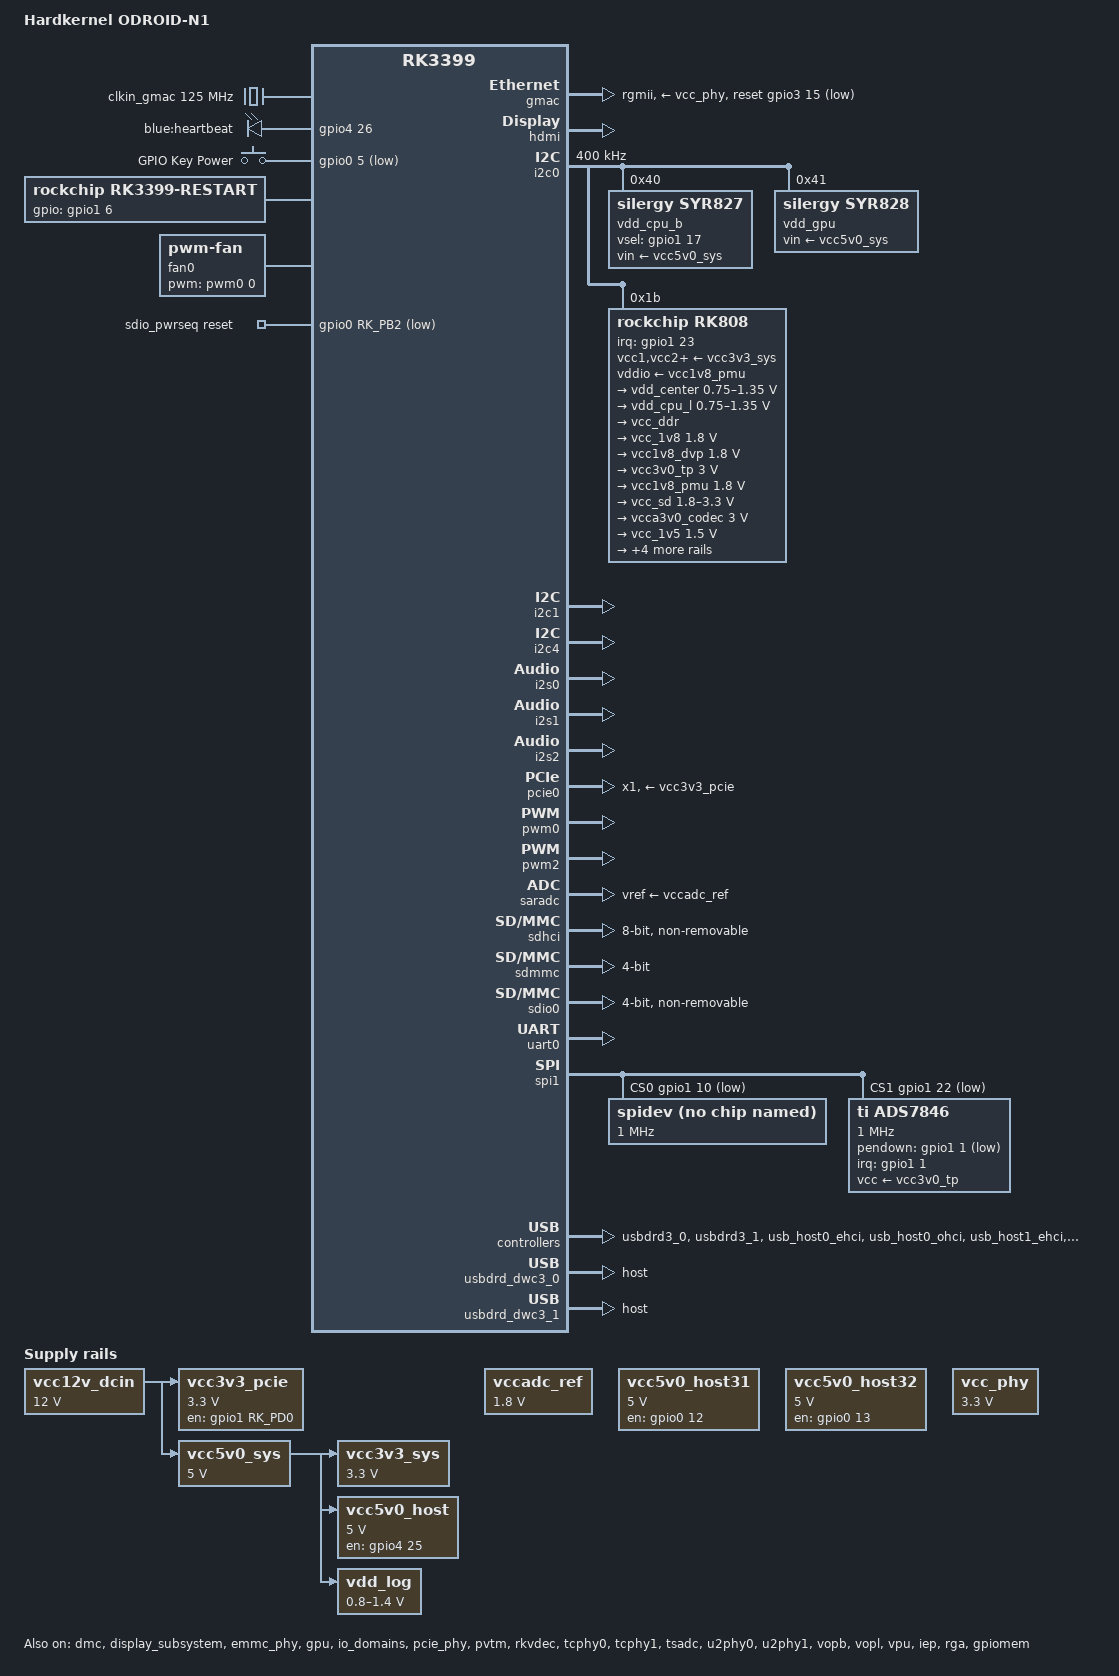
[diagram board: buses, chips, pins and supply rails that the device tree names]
/*
 * Copyright (c) 2017 Hardkernel Co., Ltd
 *
 * This file is dual-licensed: you can use it either under the terms
 * of the GPL or the X11 license, at your option. Note that this dual
 * licensing only applies to this file, and not this project as a
 * whole.
 *
 *  a) This file is free software; you can redistribute it and/or
 *     modify it under the terms of the GNU General Public License as
 *     published by the Free Software Foundation; either version 2 of the
 *     License, or (at your option) any later version.
 *
 *     This file is distributed in the hope that it will be useful,
 *     but WITHOUT ANY WARRANTY; without even the implied warranty of
 *     MERCHANTABILITY or FITNESS FOR A PARTICULAR PURPOSE.  See the
 *     GNU General Public License for more details.
 *
 * Or, alternatively,
 *
 *  b) Permission is hereby granted, free of charge, to any person
 *     obtaining a copy of this software and associated documentation
 *     files (the "Software"), to deal in the Software without
 *     restriction, including without limitation the rights to use,
 *     copy, modify, merge, publish, distribute, sublicense, and/or
 *     sell copies of the Software, and to permit persons to whom the
 *     Software is furnished to do so, subject to the following
 *     conditions:
 *
 *     The above copyright notice and this permission notice shall be
 *     included in all copies or substantial portions of the Software.
 *
 *     THE SOFTWARE IS PROVIDED "AS IS", WITHOUT WARRANTY OF ANY KIND,
 *     EXPRESS OR IMPLIED, INCLUDING BUT NOT LIMITED TO THE WARRANTIES
 *     OF MERCHANTABILITY, FITNESS FOR A PARTICULAR PURPOSE AND
 *     NONINFRINGEMENT. IN NO EVENT SHALL THE AUTHORS OR COPYRIGHT
 *     HOLDERS BE LIABLE FOR ANY CLAIM, DAMAGES OR OTHER LIABILITY,
 *     WHETHER IN AN ACTION OF CONTRACT, TORT OR OTHERWISE, ARISING
 *     FROM, OUT OF OR IN CONNECTION WITH THE SOFTWARE OR THE USE OR
 *     OTHER DEALINGS IN THE SOFTWARE.
 */

/dts-v1/;

#include "dt-bindings/pwm/pwm.h"
#include "rk3399.dtsi"
#include "rk3399-opp.dtsi"
#include "rk3399-linux.dtsi"
#include <dt-bindings/input/input.h>

/ {
	model = "Hardkernel ODROID-N1";
	compatible = "hardkernel,odroidn1-linux", "rockchip,rk3399";

	chosen {
		// disable USB autosuspend as this solves USB stability issues
		bootargs = "earlycon=uart8250,mmio32,0xff1a0000 swiotlb=1 no_console_suspend=1 usbcore.autosuspend=-1";
		stdout-path = "serial2:1500000n8";
	};

	cpuinfo {
		compatible = "rockchip,cpuinfo";
		nvmem-cells = <&cpu_id>;
		nvmem-cell-names = "id";
	};

	reserved-memory {
		#address-cells = <2>;
		#size-cells = <2>;
		ranges;

		drm_logo: drm-logo@00000000 {
			compatible = "rockchip,drm-logo";
			reg = <0x0 0x0 0x0 0x0>;
		};
	};

	ion {
		compatible = "rockchip,ion";
		#address-cells = <1>;
		#size-cells = <0>;

		cma-heap {
			reg = <0x00000000 0x02000000>;
		};

		system-heap {
		};
	};

	aliases {
		ethernet0 = &gmac;
	};

	clkin_gmac: external-gmac-clock {
		compatible = "fixed-clock";
		clock-frequency = <125000000>;
		clock-output-names = "clkin_gmac";
		#clock-cells = <0>;
	};

	fiq_debugger: fiq-debugger {
		compatible = "rockchip,fiq-debugger";
		rockchip,serial-id = <2>;
		rockchip,signal-irq = <182>;
		rockchip,wake-irq = <0>;
		rockchip,irq-mode-enable = <1>;  /* If enable uart uses irq instead of fiq */
		rockchip,baudrate = <115200>;  /* Only 115200 and 1500000 */
		pinctrl-names = "default";
		pinctrl-0 = <&uart2c_xfer>;
	};
	
	leds: gpio_leds {
		compatible = "gpio-leds";
		pinctrl-names = "led_pins";
		pinctrl-0 = <&led_pins>;

                heartbeat {
                        label = "blue:heartbeat";
                        gpios = <&gpio4 26 GPIO_ACTIVE_HIGH>;
                        linux,default-trigger = "heartbeat";
                };
	};	

	gpio-keys {
		compatible = "gpio-keys";
		#address-cells = <1>;
		#size-cells = <0>;
		autorepeat;

		pinctrl-names = "default";
		pinctrl-0 = <&pwrbtn>;

		button@0 {
			gpios = <&gpio0 5 GPIO_ACTIVE_LOW>;
			linux,code = <KEY_POWER>;
			label = "GPIO Key Power";
			linux,input-type = <1>;
			gpio-key,wakeup = <1>;
			debounce-interval = <100>;
		};
	};

	rk3399-restart {
		compatible = "rockchip,rk3399-restart";
		gpios = <&gpio1 6 GPIO_ACTIVE_HIGH>;
		open-source;
	};

	gpiomem {
		compatible = "rockchip,rock-gpiomem";

		/* gpio mmap area define */
			/* GPIO0 64K    : 0xff720000 - 0xff72ffff */
			/* GPIO1 64K    : 0xff730000 - 0xff73ffff */
			/* Reserved 64K : 0xff740000 - 0xff74ffff */
			/* PMUCRU 64K   : 0xff750000 - 0xff75ffff */
			/* CRU 64K      : 0xff760000 - 0xff76ffff */
			/* GRF 64K      : 0xff770000 - 0xff77ffff */
			/* GPIO2 32K    : 0xff780000 - 0xff777fff */
			/* GPIO3 32K    : 0xff788000 - 0xff78ffff */
			/* GPIO4 32K    : 0xff790000 - 0xff797fff */
		reg = 	<0 0xff720000 0 0x78000>,

			/* PMUGRF 64K   : 0xff320000 - 0xff32ffff */
			<0 0xff320000 0 0x10000>;
		status = "okay";
	};

	fan0: pwm-fan {
		compatible = "pwm-fan";
		status = "okay";
		pwms = <&pwm0 0 40000 0>; /* 25 kHz */
		cooling-min-state = <0>;
		cooling-max-state = <3>;
		#cooling-cells = <2>;
		cooling-levels = <0 150 195 240>;
	};

	dw_hdmi_audio: dw-hdmi-audio {
		status = "disabled";
		compatible = "rockchip,dw-hdmi-audio";
		#sound-dai-cells = <0>;
	};

	hdmi_sound: hdmi-sound {
		status = "disabled";
		compatible = "simple-audio-card";
		simple-audio-card,format = "i2s";
		simple-audio-card,mclk-fs = <256>;
		simple-audio-card,name = "rockchip,hdmi";

		simple-audio-card,cpu {
			sound-dai = <&i2s2>;
		};
		simple-audio-card,codec {
			sound-dai = <&dw_hdmi_audio>;
		};
	};

	hdmi_codec: hdmi-codec {
		compatible = "simple-audio-card";
		simple-audio-card,format = "i2s";
		simple-audio-card,mclk-fs = <256>;
		simple-audio-card,name = "HDMI-CODEC";

		simple-audio-card,cpu {
			sound-dai = <&i2s2>;
		};

		simple-audio-card,codec {
			sound-dai = <&hdmi>;
		};
	};

	vcc12v_dcin: vcc12v-dcin {
		compatible = "regulator-fixed";
		regulator-name = "vcc12v_dcin";
		regulator-always-on;
		regulator-boot-on;
		regulator-min-microvolt = <12000000>;
		regulator-max-microvolt = <12000000>;
	};

	vcc3v3_pcie: vcc3v3-pcie-regulator {
		compatible = "regulator-fixed";
		regulator-min-microvolt = <3300000>;
		regulator-max-microvolt = <3300000>;
		enable-active-high;
		gpio = <&gpio1 RK_PD0 GPIO_ACTIVE_HIGH>;
		pinctrl-names = "default";
		pinctrl-0 = <&pcie_pwr_en>;
		regulator-name = "vcc3v3_pcie";
		vin-supply = <&vcc12v_dcin>;
	};

	vcc5v0_sys: vcc5v0-sys {
		compatible = "regulator-fixed";
		regulator-name = "vcc5v0_sys";
		regulator-always-on;
		regulator-boot-on;
		regulator-min-microvolt = <5000000>;
		regulator-max-microvolt = <5000000>;
		vin-supply = <&vcc12v_dcin>;
	};

	vccadc_ref: vccadc-ref {
		compatible = "regulator-fixed";
		regulator-name = "vcc1v8_sys";
		regulator-always-on;
		regulator-boot-on;
		regulator-min-microvolt = <1800000>;
		regulator-max-microvolt = <1800000>;
	};	

	vcc3v3_sys: vcc3v3-sys {
		compatible = "regulator-fixed";
		regulator-name = "vcc3v3_sys";
		regulator-always-on;
		regulator-boot-on;
		regulator-min-microvolt = <3300000>;
		regulator-max-microvolt = <3300000>;
		vin-supply = <&vcc5v0_sys>;
	};

	vcc5v0_host: vcc5v0-host-regulator {
		compatible = "regulator-fixed";
		enable-active-high;
		gpio = <&gpio4 25 GPIO_ACTIVE_HIGH>;
		pinctrl-names = "default";
		pinctrl-0 = <&host_vbus_drv>;
		regulator-name = "vcc5v0_host";
		regulator-min-microvolt = <5000000>;
		regulator-max-microvolt = <5000000>;
		regulator-always-on;
		vin-supply = <&vcc5v0_sys>;
	};

	vcc5v0_host31: vcc5v0-host31-regulator {
		compatible = "regulator-fixed";
		enable-active-high;
		gpio = <&gpio0 12 GPIO_ACTIVE_HIGH>;
		pinctrl-names = "default";
		pinctrl-0 = <&host31_vbus_drv>;
		regulator-name = "vcc5v0_host31";
		regulator-min-microvolt = <5000000>;
		regulator-max-microvolt = <5000000>;
	};

	vcc5v0_host32: vcc5v0-host32-regulator {
		compatible = "regulator-fixed";
		enable-active-high;
		gpio = <&gpio0 13 GPIO_ACTIVE_HIGH>;
		pinctrl-names = "default";
		pinctrl-0 = <&host32_vbus_drv>;
		regulator-name = "vcc5v0_host32";
		regulator-min-microvolt = <5000000>;
		regulator-max-microvolt = <5000000>;
	};

	vcc_phy: vcc-phy-regulator {
		compatible = "regulator-fixed";
		regulator-name = "vcc_phy";
		regulator-min-microvolt = <3300000>;
		regulator-max-microvolt = <3300000>;
		regulator-always-on;
		regulator-boot-on;
	};

	vdd_log: vdd-log {
		compatible = "pwm-regulator";
		pwms = <&pwm2 0 25000 1>;
		regulator-name = "vdd_log";
		regulator-min-microvolt = <800000>;
		regulator-max-microvolt = <1400000>;
		regulator-always-on;
		regulator-boot-on;

		/* for rockchip boot on */
		rockchip,pwm_id= <2>;
		rockchip,pwm_voltage = <900000>;

		pwm-supply = <&vcc5v0_sys>;
	};

	sdio_pwrseq: sdio-pwrseq {
		compatible = "mmc-pwrseq-simple";
		clocks = <&rk808 1>;
		clock-names = "ext_clock";
		pinctrl-names = "default";
		pinctrl-0 = <&wifi_enable_h>;

		/*
		 * On the module itself this is one of these (depending
		 * on the actual card populated):
		 * - SDIO_RESET_L_WL_REG_ON
		 * - PDN (power down when low)
		 */
		reset-gpios = <&gpio0 RK_PB2 GPIO_ACTIVE_LOW>;
	};

	odroid_sysfs: odroid-sysfs {
		status = "okay";
		compatible = "odroid-sysfs";
	};
};

&cluster0_opp {
	opp-408000000 {
		opp-microvolt = <800000>;
	};
	opp-600000000 {
		opp-microvolt = <800000>;
	};
	opp-816000000 {
		opp-microvolt = <850000>;
	};
	opp-1008000000 {
		opp-microvolt = <925000>;
	};
	opp-1200000000 {
		opp-microvolt = <1000000>;
	};
	opp-1416000000 {
		opp-microvolt = <1125000>;
	};
	opp-1512000000 {
		opp-hz = /bits/ 64 <1512000000>;
		opp-microvolt = <1200000>;
		opp-microvolt-L0 = <1200000>;
		opp-microvolt-L1 = <1175000>;
		opp-microvolt-L2 = <1150000>;
		opp-microvolt-L3 = <1125000>;
		clock-latency-ns = <40000>;
	};
};

&cluster1_opp {
	opp-408000000 {
		opp-microvolt = <800000>;
	};
	opp-600000000 {
		opp-microvolt = <800000>;
	};
	opp-816000000 {
		opp-microvolt = <825000>;
	};
	opp-1008000000 {
		opp-microvolt = <875000>;
	};
	opp-1200000000 {
		opp-microvolt = <950000>;
	};
	opp-1416000000 {
		opp-microvolt = <1025000>;
	};
	opp-1608000000 {
		opp-microvolt = <1100000>;
	};
	opp-1800000000 {
		opp-microvolt = <1200000>;
	};
	opp-1992000000 {
		opp-hz = /bits/ 64 <1992000000>;
		opp-microvolt = <1300000>;
		opp-microvolt-L0 = <1300000>;
		opp-microvolt-L1 = <1275000>;
		opp-microvolt-L2 = <1250000>;
		opp-microvolt-L3 = <1225000>;
		clock-latency-ns = <40000>;
	};
};

&cpu_l0 {
	cpu-supply = <&vdd_cpu_l>;
};

&cpu_l1 {
	cpu-supply = <&vdd_cpu_l>;
};

&cpu_l2 {
	cpu-supply = <&vdd_cpu_l>;
};

&cpu_l3 {
	cpu-supply = <&vdd_cpu_l>;
};

&cpu_b0 {
	cpu-supply = <&vdd_cpu_b>;
};

&cpu_b1 {
	cpu-supply = <&vdd_cpu_b>;
};

&dmc {
	status = "okay";
	center-supply = <&vdd_center>;
	upthreshold = <40>;
	downdifferential = <20>;
	system-status-freq = <
		/*system status         freq(KHz)*/
		SYS_STATUS_NORMAL       933000
		SYS_STATUS_REBOOT       400000
		SYS_STATUS_SUSPEND      400000
		SYS_STATUS_VIDEO_1080P  933000
		SYS_STATUS_VIDEO_4K     933000
		SYS_STATUS_VIDEO_4K_10B 933000
		SYS_STATUS_PERFORMANCE  933000
		SYS_STATUS_BOOST        400000
		SYS_STATUS_DUALVIEW     933000
		SYS_STATUS_ISP          933000
	>;
	vop-bw-dmc-freq = <
	/* min_bw(MB/s) max_bw(MB/s) freq(KHz) */
		0       577      200000
		578     1701     300000
		1702    99999    400000
	>;
	auto-min-freq = <800000>;
};

&dmc_opp_table {
	opp-933000000 {
		opp-hz = /bits/ 64 <933000000>;
		opp-microvolt = <900000>;
	};
};

&display_subsystem {
	/delete-property/ devfreq;
	status = "okay";

	ports = <&vopb_out>, <&vopl_out>;
	logo-memory-region = <&drm_logo>;

	route {
		route_hdmi: route-hdmi {
			logo,uboot = "logo.bmp";
			logo,kernel = "logo_kernel.bmp";
			logo,mode = "center";
			charge_logo,mode = "center";
			connect = <&vopb_out_hdmi>;
		};

		route_dp: route-dp {
			logo,uboot = "logo.bmp";
			logo,kernel = "logo_kernel.bmp";
			logo,mode = "center";
			charge_logo,mode = "center";
			connect = <&vopl_out_dp>;
		};
	};
};

&emmc_phy {
	status = "okay";
};

&gmac {
	phy-supply = <&vcc_phy>;
	phy-mode = "rgmii";
	clock_in_out = "input";
	snps,reset-gpio = <&gpio3 15 GPIO_ACTIVE_LOW>;
	snps,reset-active-low;
	snps,reset-delays-us = <0 10000 50000>;
	assigned-clocks = <&cru SCLK_RMII_SRC>;
	assigned-clock-parents = <&clkin_gmac>;
	pinctrl-names = "default";
	pinctrl-0 = <&rgmii_pins>;
	tx_delay = <0x100>;
	rx_delay = <0x11>;
	hardkernel,mac-rule = <1>;
	status = "okay";
};

&gpu {
	status = "okay";
	mali-supply = <&vdd_gpu>;
};

/* HACK: keep MALI version on linux */
&gpu_power_model {
	// for DDK r14.
	voltage = <900>;
	frequency = <500>;
	static-power = <300>;
	dynamic-power = <396>;
};

&hdmi {
	#address-cells = <1>;
	#size-cells = <0>;
	#sound-dai-cells = <0>;
	status = "okay";
	rockchip,phy-table =
		<74250000 0x8009 0x0004 0x0272>,
		<165000000 0x802b 0x0004 0x0209>,
		<297000000 0x8039 0x0005 0x028d>,
		<594000000 0x8039 0x0000 0x019d>,
		<000000000 0x0000 0x0000 0x0000>;

	pinctrl-names = "default";
	pinctrl-0 = <&hdmi_i2c_xfer>, <&hdmi_cec>;

	ports {
		/* Don't use vopl for hdmi */
		hdmi_in: port {
			/delete-node/ endpoint@1;
		};
	};
};

&dp_in_vopl {
       status = "disabled";
};

&i2c0 {
	status = "okay";
	i2c-scl-rising-time-ns = <168>;
	i2c-scl-falling-time-ns = <4>;
	clock-frequency = <400000>;

	vdd_cpu_b: syr827@40 {
		compatible = "silergy,syr827";
		reg = <0x40>;
		vin-supply = <&vcc5v0_sys>;
		regulator-compatible = "fan53555-reg";
		regulator-name = "vdd_cpu_b";
		regulator-min-microvolt = <712500>;
		regulator-max-microvolt = <1500000>;
		regulator-ramp-delay = <40000>;
		vsel-gpios = <&gpio1 17 GPIO_ACTIVE_HIGH>;
		fcs,suspend-voltage-selector = <1>;
		regulator-always-on;
		regulator-boot-on;
		regulator-initial-state = <3>;
			regulator-state-mem {
			regulator-off-in-suspend;
		};
	};

	vdd_gpu: syr828@41 {
		compatible = "silergy,syr828";
		reg = <0x41>;
		vin-supply = <&vcc5v0_sys>;
		regulator-compatible = "fan53555-reg";
		regulator-name = "vdd_gpu";
		regulator-min-microvolt = <712500>;
		regulator-max-microvolt = <1500000>;
		regulator-ramp-delay = <1000>;
		fcs,suspend-voltage-selector = <1>;
		regulator-always-on;
		regulator-boot-on;
		regulator-initial-state = <3>;
			regulator-state-mem {
			regulator-off-in-suspend;
		};
	};

	rk808: pmic@1b {
		compatible = "rockchip,rk808";
		reg = <0x1b>;
		interrupt-parent = <&gpio1>;
		interrupts = <23 IRQ_TYPE_LEVEL_LOW>;
		pinctrl-names = "default";
		pinctrl-0 = <&pmic_int_l &pmic_dvs2>;
		rockchip,system-power-controller;
		wakeup-source;
		#clock-cells = <1>;
		clock-output-names = "xin32k", "rk808-clkout2";

		vcc1-supply = <&vcc3v3_sys>;
		vcc2-supply = <&vcc3v3_sys>;
		vcc3-supply = <&vcc3v3_sys>;
		vcc4-supply = <&vcc3v3_sys>;
		vcc6-supply = <&vcc3v3_sys>;
		vcc7-supply = <&vcc3v3_sys>;
		vcc8-supply = <&vcc3v3_sys>;
		vcc9-supply = <&vcc3v3_sys>;
		vcc10-supply = <&vcc3v3_sys>;
		vcc11-supply = <&vcc3v3_sys>;
		vcc12-supply = <&vcc3v3_sys>;
		vddio-supply = <&vcc1v8_pmu>;

		regulators {
			vdd_center: DCDC_REG1 {
				regulator-always-on;
				regulator-boot-on;
				regulator-min-microvolt = <750000>;
				regulator-max-microvolt = <1350000>;
				regulator-ramp-delay = <6001>;
				regulator-name = "vdd_center";
				regulator-state-mem {
					regulator-off-in-suspend;
				};
			};

			vdd_cpu_l: DCDC_REG2 {
				regulator-always-on;
				regulator-boot-on;
				regulator-min-microvolt = <750000>;
				regulator-max-microvolt = <1350000>;
				regulator-ramp-delay = <6001>;
				regulator-name = "vdd_cpu_l";
				regulator-state-mem {
					regulator-off-in-suspend;
				};
			};

			vcc_ddr: DCDC_REG3 {
				regulator-always-on;
				regulator-boot-on;
				regulator-name = "vcc_ddr";
				regulator-state-mem {
					regulator-on-in-suspend;
				};
			};

			vcc_1v8: DCDC_REG4 {
				regulator-always-on;
				regulator-boot-on;
				regulator-min-microvolt = <1800000>;
				regulator-max-microvolt = <1800000>;
				regulator-name = "vcc_1v8";
				regulator-state-mem {
					regulator-on-in-suspend;
					regulator-suspend-microvolt = <1800000>;
				};
			};

			vcc1v8_dvp: LDO_REG1 {
				regulator-always-on;
				regulator-boot-on;
				regulator-min-microvolt = <1800000>;
				regulator-max-microvolt = <1800000>;
				regulator-name = "vcc1v8_dvp";
				regulator-state-mem {
					regulator-off-in-suspend;
				};
			};

			vcc3v0_tp: LDO_REG2 {
				regulator-always-on;
				regulator-boot-on;
				regulator-min-microvolt = <3000000>;
				regulator-max-microvolt = <3000000>;
				regulator-name = "vcc3v0_tp";
				regulator-state-mem {
					regulator-off-in-suspend;
				};
			};

			vcc1v8_pmu: LDO_REG3 {
				regulator-always-on;
				regulator-boot-on;
				regulator-min-microvolt = <1800000>;
				regulator-max-microvolt = <1800000>;
				regulator-name = "vcc1v8_pmu";
				regulator-state-mem {
					regulator-on-in-suspend;
					regulator-suspend-microvolt = <1800000>;
				};
			};

			vcc_sd: LDO_REG4 {
				regulator-always-on;
				regulator-boot-on;
				regulator-min-microvolt = <1800000>;
				regulator-max-microvolt = <3300000>;
				regulator-name = "vcc_sd";
				regulator-state-mem {
					regulator-on-in-suspend;
					regulator-suspend-microvolt = <3300000>;
				};
			};

			vcca3v0_codec: LDO_REG5 {
				regulator-always-on;
				regulator-boot-on;
				regulator-min-microvolt = <3000000>;
				regulator-max-microvolt = <3000000>;
				regulator-name = "vcca3v0_codec";
				regulator-state-mem {
					regulator-off-in-suspend;
				};
			};

			vcc_1v5: LDO_REG6 {
				regulator-always-on;
				regulator-boot-on;
				regulator-min-microvolt = <1500000>;
				regulator-max-microvolt = <1500000>;
				regulator-name = "vcc_1v5";
				regulator-state-mem {
					regulator-on-in-suspend;
					regulator-suspend-microvolt = <1500000>;
				};
			};

			vcca1v8_codec: LDO_REG7 {
				regulator-always-on;
				regulator-boot-on;
				regulator-min-microvolt = <1800000>;
				regulator-max-microvolt = <1800000>;
				regulator-name = "vcca1v8_codec";
				regulator-state-mem {
					regulator-off-in-suspend;
				};
			};

			vcc_3v0: LDO_REG8 {
				regulator-always-on;
				regulator-boot-on;
				regulator-min-microvolt = <3000000>;
				regulator-max-microvolt = <3000000>;
				regulator-name = "vcc_3v0";
				regulator-state-mem {
					regulator-on-in-suspend;
					regulator-suspend-microvolt = <3000000>;
				};
			};

			vcc3v3_s3: SWITCH_REG1 {
				regulator-always-on;
				regulator-boot-on;
				regulator-name = "vcc3v3_s3";
				regulator-state-mem {
					regulator-off-in-suspend;
				};
			};

			vcc3v3_s0: SWITCH_REG2 {
				regulator-always-on;
				regulator-boot-on;
				regulator-name = "vcc3v3_s0";
				regulator-state-mem {
					regulator-off-in-suspend;
				};
			};
		};
	};
};

&i2c1 {
	status = "okay";
	i2c-scl-rising-time-ns = <300>;
	i2c-scl-falling-time-ns = <15>;
};

&i2c4 {
	status = "okay";
	i2c-scl-rising-time-ns = <600>;
	i2c-scl-falling-time-ns = <20>;
};

&i2s0 {
	status = "okay";
	rockchip,i2s-broken-burst-len;
	rockchip,playback-channels = <8>;
	rockchip,capture-channels = <8>;
	#sound-dai-cells = <0>;
};

&i2s1 {
	status = "okay";
	rockchip,i2s-broken-burst-len;
	rockchip,playback-channels = <2>;
	rockchip,capture-channels = <2>;
	#sound-dai-cells = <0>;
};

&i2s2 {
	#sound-dai-cells = <0>;
	status = "okay";
};

&io_domains {
	status = "okay";

	bt656-supply = <&vcc1v8_dvp>;		/* bt656_gpio2ab_ms */
	audio-supply = <&vcca1v8_codec>;	/* audio_gpio3d4a_ms */
	sdmmc-supply = <&vcc_sd>;		/* sdmmc_gpio4b_ms */
	gpio1830-supply = <&vcc_3v0>;		/* gpio1833_gpio4cd_ms */
};

&pcie_phy {
	status = "okay";
};

&pcie0 {
	assigned-clocks = <&cru SCLK_PCIEPHY_REF>;
	assigned-clock-parents = <&cru SCLK_PCIEPHY_REF100M>;
	assigned-clock-rates = <100000000>;
	ep-gpios = <&gpio2 18 GPIO_ACTIVE_HIGH>;
	num-lanes = <1>;
	max-link-speed = <2>;
	pinctrl-names = "default";
	pinctrl-0 = <&pcie_clkreqn>;
	vpcie3v3-supply = <&vcc3v3_pcie>;
	bus-scan-delay-ms = <1000>;
	status = "okay";
};

&pvtm {
        status = "okay";
};

&pmu_pvtm {
        status = "okay";
};

&pmu_io_domains {
	status = "okay";
	pmu1830-supply = <&vcc_3v0>;
};

&pinctrl {
	buttons {
		pwrbtn: pwrbtn {
			rockchip,pins = <0 5 RK_FUNC_GPIO &pcfg_pull_up>;
		};
	};

	pcie {
		pcie_pwr_en: pcie-pwr-en {
			rockchip,pins =
				<1 RK_PD0 RK_FUNC_GPIO &pcfg_pull_none>;
		};
	};

	pmic {
		vsel1_gpio: vsel1-gpio {
			rockchip,pins =
				<1 17 RK_FUNC_GPIO &pcfg_pull_down>;
		};

		vsel2_gpio: vsel2-gpio {
			rockchip,pins =
			<1 14 RK_FUNC_GPIO &pcfg_pull_down>;
		};

		pmic_int_l: pmic-int-l {
			rockchip,pins =
				<1 23 RK_FUNC_GPIO &pcfg_pull_up>;
		};

		pmic_dvs2: pmic-dvs2 {
			rockchip,pins =
				<1 18 RK_FUNC_GPIO &pcfg_pull_down>;
		};
	};

	sdio-pwrseq {
		wifi_enable_h: wifi-enable-h {
			rockchip,pins =
				<0 RK_PB2 RK_FUNC_GPIO &pcfg_pull_none>;
		};
	};

	usb2 {
		host_vbus_drv: host-vbus-drv {
			rockchip,pins =
				<4 25 RK_FUNC_GPIO &pcfg_pull_none>;
		};
	
		host31_vbus_drv: host31-vbus-drv {
			rockchip,pins =
				<0 12 RK_FUNC_GPIO &pcfg_pull_none>;
		};

		host32_vbus_drv: host32-vbus-drv {
			rockchip,pins =
				<0 13 RK_FUNC_GPIO &pcfg_pull_none>;
		};
	};
	
	leds {
		led_pins: led-pins {
			rockchip,pins = <4 26 RK_FUNC_GPIO &pcfg_pull_none>;
		};
	};
};

&pwm0 {
	status = "okay";
};

&pwm2 {
	status = "okay";
};

&rkvdec {
	status = "okay";
};

&rockchip_suspend {
	rockchip,power-ctrl =
		<&gpio1 18 GPIO_ACTIVE_LOW>,
		<&gpio1 14 GPIO_ACTIVE_HIGH>;
};

&route_edp {
	status = "disabled";
};

&saradc {
	status = "okay";
	vref-supply = <&vccadc_ref>;
};

&sdhci {
	bus-width = <8>;
	keep-power-in-suspend;
	mmc-hs400-1_8v;
	mmc-hs400-enhanced-strobe;
	non-removable;
	status = "okay";
	supports-emmc;
};

&sdmmc {
	max-frequency = <150000000>;
	supports-sd;
	bus-width = <4>;
	supports-highspeed;
	mmc-ddr-1_8v;
	sd-uhs-sdr104;
	disable-wp;
	num-slots = <1>;
	vqmmc-supply = <&vcc_sd>;
	pinctrl-names = "default";
	pinctrl-0 = <&sdmmc_clk &sdmmc_cmd &sdmmc_cd &sdmmc_bus4>;
	status = "okay";
};

&tcphy0 {
	status = "okay";
};

&tcphy1 {
	status = "okay";
};

&soc_thermal {
	polling-delay-passive = <20>; /* milliseconds */
	polling-delay = <1000>; /* milliseconds */
	sustainable-power = <1000>; /* milliwatts */

	thermal-sensors = <&tsadc 0>;

	trips {
		/* fan active thermal point */
		cpu_alert0: trip-point-0 {
			temperature = <55000>; /* millicelsius */
			hysteresis = <2000>; /* millicelsius */
			type = "active";
		};
		cpu_alert1: trip-point-1 {
			temperature = <65000>; /* millicelsius */
			hysteresis = <2000>; /* millicelsius */
			type = "active";
		};
		cpu_alert2: trip-point-2 {
			temperature = <75000>; /* millicelsius */
			hysteresis = <2000>; /* millicelsius */
			type = "active";
		};

		/* big cluster thermal point */
		cpu_alert3: trip-point-3 {
			temperature = <80000>; /* millicelsius */
			hysteresis = <2000>; /* millicelsius */
			type = "passive";
		};
		cpu_alert4: trip-point-4 {
			temperature = <82000>; /* millicelsius */
			hysteresis = <2000>; /* millicelsius */
			type = "passive";
		};
		cpu_alert5: trip-point-5 {
			temperature = <85000>; /* millicelsius */
			hysteresis = <2000>; /* millicelsius */
			type = "passive";
		};
		cpu_alert6: trip-point-6 {
			temperature = <88000>; /* millicelsius */
			hysteresis = <2000>; /* millicelsius */
			type = "passive";
		};

		/* little cluster thermal point */
		cpu_alert7: trip-point-7 {
			temperature = <90000>; /* millicelsius */
			hysteresis = <2000>; /* millicelsius */
			type = "passive";
		};
		cpu_alert8: trip-point-8 {
			temperature = <92000>; /* millicelsius */
			hysteresis = <2000>; /* millicelsius */
			type = "passive";
		};
		cpu_alert9: trip-point-9 {
			temperature = <95000>; /* millicelsius */
			hysteresis = <2000>; /* millicelsius */
			type = "passive";
		};
		soc_crit: soc-crit {
			temperature = <120000>; /* millicelsius */
			hysteresis = <2000>; /* millicelsius */
			type = "critical";
		};
	};

	cooling-maps {
		/* fan cooling map */
		map0 {
			trip = <&cpu_alert0>;
			cooling-device =
				<&fan0 0 1>;
		};
		map1 {
			trip = <&cpu_alert1>;
			cooling-device =
				<&fan0 1 2>;
		};
		map2 {
			trip = <&cpu_alert2>;
			cooling-device =
				<&fan0 2 3>;
		};

		/* cpu cooling map */
		/* big cluster */
		map3 {
			trip = <&cpu_alert3>;
			cooling-device =
				<&cpu_b0 0 2>;
			contribution = <4096>;
		};
		map4 {
			trip = <&cpu_alert4>;
			cooling-device =
				<&cpu_b0 2 4>;
			contribution = <4096>;
		};
		map5 {
			trip = <&cpu_alert5>;
			cooling-device =
				<&cpu_b0 4 7>;
			contribution = <4096>;
		};
		map6 {
			trip = <&cpu_alert6>;
			cooling-device =
				<&cpu_b0 4 7>;
			contribution = <4096>;
		};

		/* little cluster */
		map7 {
			trip = <&cpu_alert7>;
			cooling-device =
				<&cpu_l0 0 2>;
			contribution = <1024>;
		};
		map8 {
			trip = <&cpu_alert8>;
			cooling-device =
				<&cpu_l0 2 5>;
			contribution = <1024>;
		};

		map9 {
			trip = <&cpu_alert9>;
			cooling-device =
				<&gpu THERMAL_NO_LIMIT THERMAL_NO_LIMIT>;
			contribution = <1024>;
		};
	};
};

&tsadc {
	/* tshut mode 0:CRU 1:GPIO */
	rockchip,hw-tshut-mode = <1>;
	/* tshut polarity 0:LOW 1:HIGH */
	rockchip,hw-tshut-polarity = <1>;
	rockchip,hw-tshut-temp = <110000>;
	status = "okay";
};

&u2phy0 {
	status = "okay";

	u2phy0_otg: otg-port {
		phy-supply = <&vcc5v0_host31>;
		status = "okay";
	};

	u2phy0_host: host-port {
		phy-supply = <&vcc5v0_host>;
		status = "okay";
	};
};

&u2phy1 {
	status = "okay";

	u2phy1_otg: otg-port {
		phy-supply = <&vcc5v0_host32>;
		status = "okay";
	};

	u2phy1_host: host-port {
		phy-supply = <&vcc5v0_host>;
		status = "okay";
	};
};

&sdio0 { 
	clock-frequency = <50000000>;
	clock-freq-min-max = <200000 50000000>;
	supports-sdio;
	bus-width = <4>;
	disable-wp;
	cap-sd-highspeed;
	cap-sdio-irq;
	keep-power-in-suspend;
	mmc-pwrseq = <&sdio_pwrseq>;
	non-removable;
	num-slots = <1>;
	pinctrl-names = "default";
	pinctrl-0 = <&sdio0_bus4 &sdio0_cmd &sdio0_clk>;
	sd-uhs-sdr104;
	status = "okay";
	defer_pcie = <2000>;
};

&uart0 {
	status = "okay";
	dmas = <&dmac_peri 0>, <&dmac_peri 1>;
	dma-names = "tx", "rx";
};

&spi1 {
	status = "okay";

	// It is not recommended that the normal communication byte
	// be less than 32 bytes when DMA mode is enabled.

	// dmas = <&dmac_peri 12>, <&dmac_peri 13>;
	// dma-names = "tx", "rx";

	cs-gpios = <&gpio1 10 GPIO_ACTIVE_LOW>, <&gpio1 22 GPIO_ACTIVE_LOW>;
	max-freq = <48000000>;

	spidev: spidev@0 {
		reg = <0>;
		compatible = "linux,spidev";
		spi-max-frequency = <1000000>;
	};

	ads7846: ads7846@1 {
		reg = <1>;
		compatible = "ti,ads7846";
		interrupt-parent = <&gpio1>;
		interrupts = <1 IRQ_TYPE_LEVEL_LOW>;
		spi-max-frequency = <1000000>;
		pendown-gpio = <&gpio1 1 GPIO_ACTIVE_LOW>;
		vcc-supply = <&vcc3v0_tp>;
		ti,swap-xy = <1>;
		ti,x-min = /bits/ 16 <0>;
		ti,x-max = /bits/ 16 <8000>;
		ti,y-min = /bits/ 16 <0>;
		ti,y-max = /bits/ 16 <4800>;
		ti,x-plate-ohms = /bits/ 16 <40>;
		ti,pressure-max = /bits/ 16 <255>;

		linux,wakeup;
	};
};

&usbdrd3_0 {
	status = "okay";
};

&usbdrd3_1 {
	status = "okay";
};

&usbdrd_dwc3_0 {
	status = "okay";
	dr_mode = "host";
};

&usbdrd_dwc3_1 {
	status = "okay";
	dr_mode = "host";
};

&usb_host0_ehci {
	status = "okay";
};

&usb_host0_ohci {
	status = "okay";
};

&usb_host1_ehci {
	status = "okay";
};

&usb_host1_ohci {
	status = "okay";
};

&vopb {
	rockchip,grf = <&grf>;
	status = "okay";
};

&vopb_mmu {
	status = "okay";
};

&vopl {
	rockchip,grf = <&grf>;
	status = "okay";

	/* Don't use vopl for hdmi */
	vopl_out: port {
		/delete-node/ endpoint@2;
	};
};

&vopl_mmu {
	status = "okay";
};

&vdec_mmu {
	status = "okay";
};

&vpu_mmu {
	status = "okay";
};

&vpu {
	status = "okay";
};

&iep_mmu {
	status = "okay";
};

&iep {
	status = "okay";
};

&rga {
	status = "okay";
};

